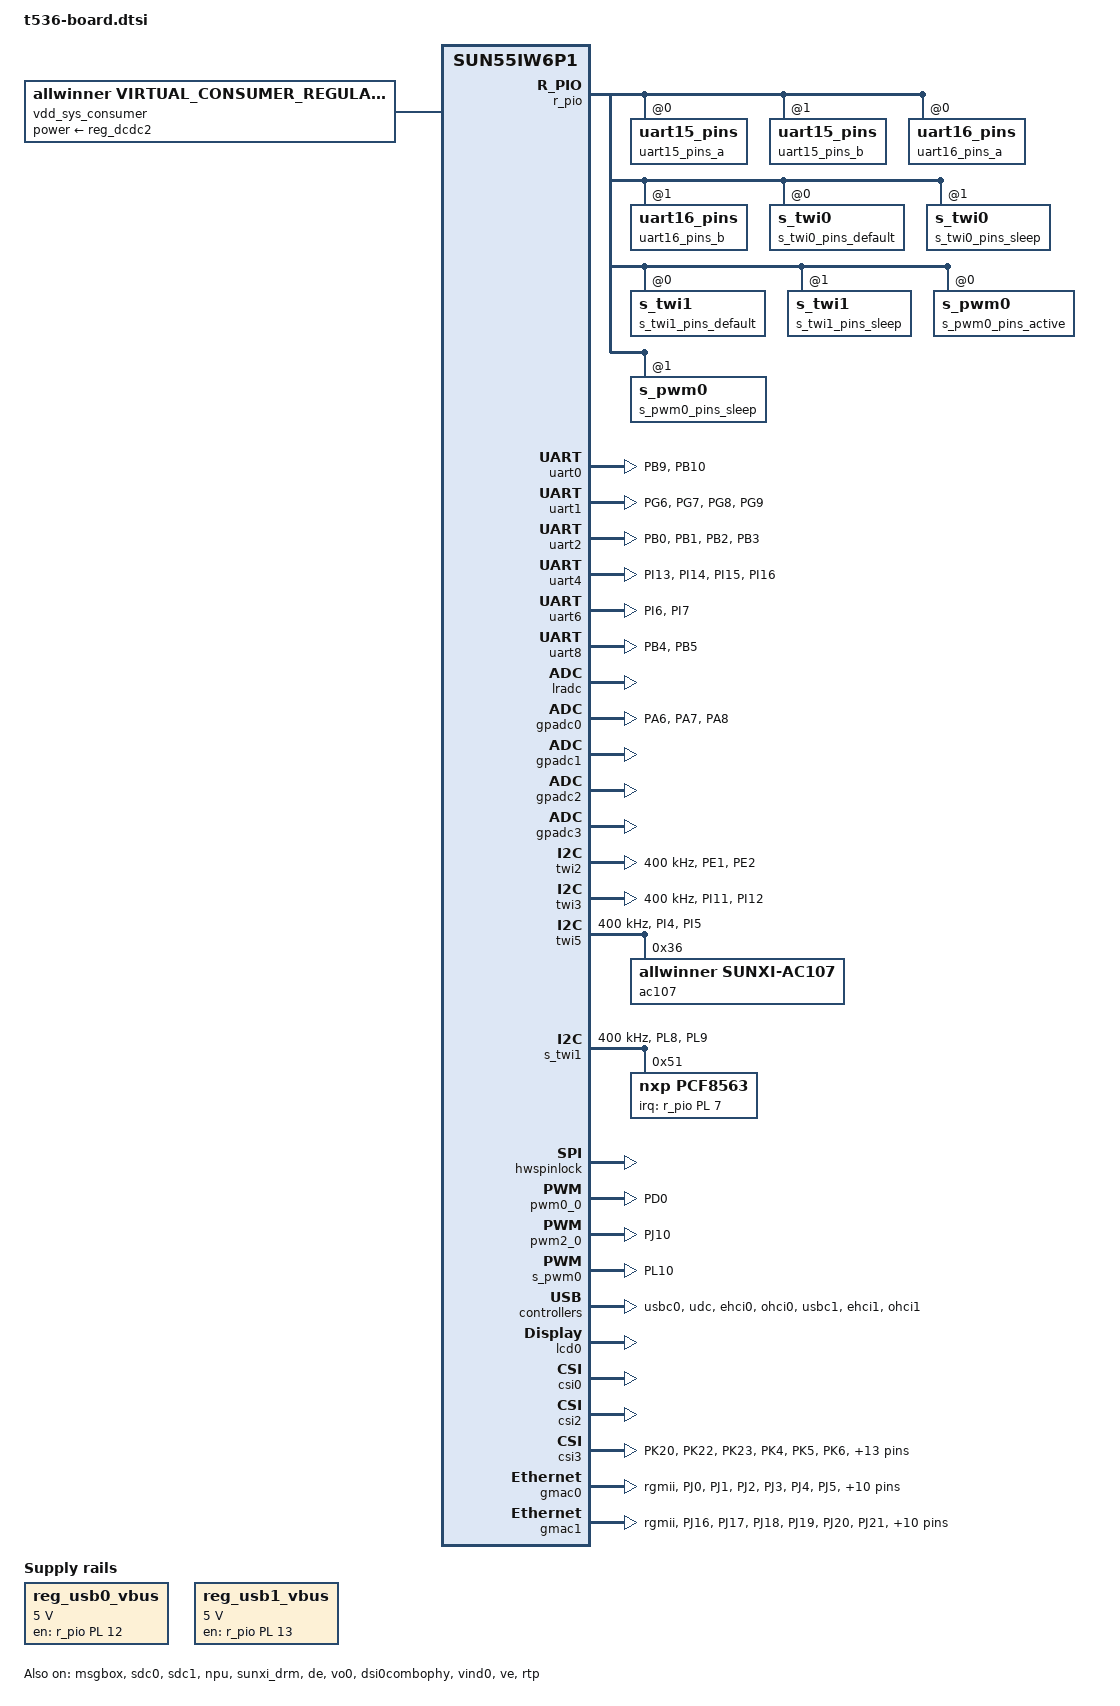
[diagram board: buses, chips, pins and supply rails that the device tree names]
// SPDX-License-Identifier: (GPL-2.0+ or MIT)

/dts-v1/;

#include "sun55iw6p1.dtsi"

/{
	board = "T536", "T536-DEMO";
	compatible = "allwinner,t536", "arm,sun55iw6p1";
	aliases {
		pmu0 = &pmu0;
		standby_param = &standby_param;
		arisc-config = &arisc_config;
	};

	standby_param: standby_param {
		vdd-cpu = <0x00000001>;
		vdd-sys = <0x00000002>;
		vcc-pll = <0x00000080>;
		vcc-io  = <0x00004000>;
		osc24m-on = <0x0>;
		mcu-standby-en = <0x0>;
	};

	arisc_config: arisc_config {
		s_uart_config{
			pins = "PL2", "PL3";
			function = <2>, <2>;
			status = "disabled";
		};
	};

	vdd_sys_consumer: vdd_sys_consumer {
		compatible = "allwinner,virtual_consumer_regulator";
		power-supply = <&reg_dcdc2>;
	};

	reserved-memory {
		rv_sram_reserved: riscvsram0@40000 {
			reg = <0x0 0x00040000 0x0 0x0002BFFF>;
			no-map;
			sleep-data-loss;
		};

		e907_mem_fw: e907_mem_fw@46000000 {
			/* boot0 & uboot0 load elf addr */
			reg = <0x0 0x46000000 0x0 0x00200000>;
		};

		e907_dram_reserved: e907_dram@60000000 {
			reg = <0x0 0x60000000 0x0 0x00100000>;
			no-map;
		};

		e907_rpbuf_reserved: e907_rpbuf@42380000 {
			compatible = "shared-dma-pool";
			no-map;
			reg = <0x0 0x42380000 0x0 0x80000>;
		};
		/*
		 * The name should be "vdev%dbuffer".
		 * Its size should be not less than
		 *     RPMSG_BUF_SIZE * (num of buffers in a vring) * 2
		 *   = 512 * (num of buffers in a vring) * 2
		 */
		rv_vdev0buffer: vdev0buffer@42400000 {
			compatible = "shared-dma-pool";
			reg = <0x0 0x42400000 0x0 0x40000>;
			no-map;
		};

		/*
		 * The name should be "vdev%dvring%d".
		 * The size of each should be not less than
		 *     PAGE_ALIGN(vring_size(num, align))
		 *   = PAGE_ALIGN(16 * num + 6 + 2 * num + (pads for align) + 6 + 8 * num)
		 *
		 * (Please refer to the vring layout in include/uapi/linux/virtio_ring.h)
		 */
		rv_vdev0vring0: vdev0vring0@42440000 {
			reg = <0x0 0x42440000 0x0 0x2000>;
			no-map;
		};
		rv_vdev0vring1: vdev0vring1@42442000 {
			reg = <0x0 0x42442000 0x0 0x2000>;
			no-map;
		};

		/*
		 * The name should be "vdev%dbuffer".
		 * Its size should be not less than
		 *     RPMSG_BUF_SIZE * (num of buffers in a vring) * 2
		 *   = 512 * (num of buffers in a vring) * 2
		 */
		a55_vdev0buffer: vdev0buffer@42444000 {
			compatible = "shared-dma-pool";
			reg = <0x0 0x42444000 0x0 0x40000>;
			no-map;
		};

		/*
		 * The name should be "vdev%dvring%d".
		 * The size of each should be not less than
		 *     PAGE_ALIGN(vring_size(num, align))
		 *   = PAGE_ALIGN(16 * num + 6 + 2 * num + (pads for align) + 6 + 8 * num)
		 *
		 * (Please refer to the vring layout in include/uapi/linux/virtio_ring.h)
		 */
		a55_vdev0vring0: vdev0vring0@42484000 {
			reg = <0x0 0x42484000 0x0 0x2000>;
			no-map;
		};
		a55_vdev0vring1: vdev0vring1@42484000 {
			reg = <0x0 0x42486000 0x0 0x2000>;
			no-map;
		};

		a55_reserved: a55_ddr@49000000 {
			reg = <0x0 0x49000000 0x0 0x00a00000>;
			no-map;
		};

		e907_share_irq_table: share_irq_table@42488000 {
			reg = <0x0 0x42488000 0x0 0x1000>;
			no-map;
		};
	};

	rpbuf_controller0: rpbuf_controller@0 {
		compatible = "allwinner,rpbuf-controller";
		remoteproc = <&e907_rproc>;
		ctrl_id = <0>;
		memory-region = <&e907_rpbuf_reserved>;
		status = "okay";
	};

	reserved-irq {
		share-e907 {
			arch-name = "e907";
			memory-region = <&e907_share_irq_table>;
			/* defined by sun55iw6-share-irq-dt.h */
			share-irq =
					<1    0x1    E907_PA_IRQ_NUM    ARM_PA_IRQ_NUM    0x00000000>,
					<2    0x2    E907_PB_IRQ_NUM    ARM_PB_IRQ_NUM    0x00000000>,
					<3    0x3    E907_PC_IRQ_NUM    ARM_PC_IRQ_NUM    0x00000000>,
					<4    0x4    E907_PD_IRQ_NUM    ARM_PD_IRQ_NUM    0x00000000>,
					<5    0x5    E907_PE_IRQ_NUM    ARM_PE_IRQ_NUM    0x00000000>,
					<6    0x6    E907_PF_IRQ_NUM    ARM_PF_IRQ_NUM    0x00000000>,
					<7    0x7    E907_PG_IRQ_NUM    ARM_PG_IRQ_NUM    0x00000000>,
					<8    0x8    E907_PH_IRQ_NUM    ARM_PH_IRQ_NUM    0x00000000>,
					<9    0x9    E907_PI_IRQ_NUM    ARM_PI_IRQ_NUM    0x00000000>,
					<10   0xa    E907_PJ_IRQ_NUM    ARM_PJ_IRQ_NUM    0x00000000>,
					<11   0xb    E907_PK_IRQ_NUM    ARM_PK_IRQ_NUM    0x00000000>,
					<12   0xc    E907_PL_IRQ_NUM    ARM_PL_IRQ_NUM    0x00000000>,
					<13   0xd    E907_PM_IRQ_NUM    ARM_PM_IRQ_NUM    0x00000000>;
		};
	};

	reg_usb0_vbus: usb0-vbus {
		compatible = "regulator-fixed";
		regulator-name = "usb0-vbus";
		regulator-min-microvolt = <5000000>;
		regulator-max-microvolt = <5000000>;
		regulator-enable-ramp-delay = <1000>;
		gpio = <&r_pio PL 12 GPIO_ACTIVE_HIGH>;
		enable-active-high;
	};

	reg_usb1_vbus: usb1-vbus {
		compatible = "regulator-fixed";
		regulator-name = "usb1-vbus";
		regulator-min-microvolt = <5000000>;
		regulator-max-microvolt = <5000000>;
		regulator-enable-ramp-delay = <1000>;
		gpio = <&r_pio PL 13 GPIO_ACTIVE_HIGH>;
		enable-active-high;
	};

	rgb_panel0: rgb_panel@1 {
		compatible = "sunxi-rgb";
		status = "disabled";
		reg = <0>;
		power0-supply = <&reg_dcdc4>;
		power1-supply = <&reg_cldo1>;
		backlight = <&backlight0>;
		display-timings {
			native-mode = <&rgb0_timing0>;
			rgb0_timing0: timing0 {
				clock-frequency = <48360000>;
				hback-porch = <35>;
				hactive = <1024>;
				hfront-porch = <161>;
				hsync-len = <20>;
				vback-porch = <25>;
				vactive = <600>;
				vfront-porch = <15>;
				vsync-len = <10>;
			};
		};
		port {
			rgb0_panel_in: endpoint {
				remote-endpoint = <&rgb0_panel_out>;
			};
		};
	};

	can0: can@0x0453C800 {
			compatible = "allwinner,sun55i-t536-can";
			reg = <0x0 0x0453C800 0x0 0x400>,
				<0x0 0x04538000 0x0 0x4400>,
				<0x0 0x04530000 0x0 0x1000>,
				<0x0 0x04534000 0x0 0x1000>;
			reg-names = "can", "message_ram", "can_top", "can_dma";
			interrupts = <GIC_SPI 36 IRQ_TYPE_LEVEL_HIGH>, <GIC_SPI 35 IRQ_TYPE_LEVEL_HIGH>, <GIC_SPI 37 IRQ_TYPE_LEVEL_HIGH>;
			interrupt-names = "int0", "int_top", "int1";
			clocks = <&ccu CLK_CAN0>, <&ccu CLK_BUS_CAN0>, <&ccu CLK_MBUS_CAN_GATE>;
			clock-names = "can_clk", "can_bus", "can_mbus";
			resets = <&ccu RST_BUS_CAN0>;
			reset-names = "can_rst";
			clock-frequency = <40000000>;
			allwinner,ram-cfg = <0x0 0 0 64 64 64 32 32>;
			status = "disable";
	};

	can1: can@0x04541800 {
		compatible = "allwinner,sun55i-t536-can";
		reg = <0x0 0x04541800 0x0 0x400>,
			<0x0 0x0453D000 0x0 0x4400>,
			<0x0 0x04531000 0x0 0x1000>,
			<0x0 0x04535000 0x0 0x1000>;
		reg-names = "can", "message_ram", "can_top", "can_dma";
		interrupts = <GIC_SPI 144 IRQ_TYPE_LEVEL_HIGH>, <GIC_SPI 146 IRQ_TYPE_LEVEL_HIGH>, <GIC_SPI 145 IRQ_TYPE_LEVEL_HIGH>;
		interrupt-names = "int0", "int_top", "int1";
		clocks = <&ccu CLK_CAN1>, <&ccu CLK_BUS_CAN1>, <&ccu CLK_MBUS_CAN_GATE>;
		clock-names = "can_clk", "can_bus", "can_mbus";
		resets = <&ccu RST_BUS_CAN1>;
		reset-names = "can_rst";
		clock-frequency = <40000000>;
		allwinner,ram-cfg = <0x0 0 0 64 64 64 32 32>;
		status = "disable";
	};

	can2: can@0x04546800 {
		compatible = "allwinner,sun55i-t536-can";
		reg = <0x0 0x04546800 0x0 0x400>,
			<0x0 0x04542000 0x0 0x4400>,
			<0x0 0x04532000 0x0 0x1000>,
			<0x0 0x04536000 0x0 0x1000>;
		reg-names = "can", "message_ram", "can_top", "can_dma";
		interrupts = <GIC_SPI 109 IRQ_TYPE_LEVEL_HIGH>, <GIC_SPI 108 IRQ_TYPE_LEVEL_HIGH>, <GIC_SPI 110 IRQ_TYPE_LEVEL_HIGH>;
		interrupt-names = "int0", "int_top", "int1";
		clocks = <&ccu CLK_CAN2>, <&ccu CLK_BUS_CAN2>, <&ccu CLK_MBUS_CAN_GATE>;
		clock-names = "can_clk", "can_bus", "can_mbus";
		resets = <&ccu RST_BUS_CAN2>;
		reset-names = "can_rst";
		clock-frequency = <40000000>;
		allwinner,ram-cfg = <0x0 0 0 64 64 64 32 32>;
		status = "disable";
	};

	can3: can@0x0454B800 {
		compatible = "allwinner,sun55i-t536-can";
		reg = <0x0 0x0454B800 0x0 0x400>,
			<0x0 0x04547000 0x0 0x4400>,
			<0x0 0x04533000 0x0 0x1000>,
			<0x0 0x04537000 0x0 0x1000>;
		reg-names = "can", "message_ram", "can_top", "can_dma";
		interrupts = <GIC_SPI 112 IRQ_TYPE_LEVEL_HIGH>, <GIC_SPI 111 IRQ_TYPE_LEVEL_HIGH>, <GIC_SPI 37 IRQ_TYPE_LEVEL_HIGH>;
		interrupt-names = "int0", "int_top", "int1";
		clocks = <&ccu CLK_CAN3>, <&ccu CLK_BUS_CAN3>, <&ccu CLK_MBUS_CAN_GATE>;
		clock-names = "can_clk", "can_bus", "can_mbus";
		resets = <&ccu RST_BUS_CAN3>;
		reset-names = "can_rst";
		clock-frequency = <40000000>;
		allwinner,ram-cfg = <0x0 0 0 64 64 64 32 32>;
		status = "disable";
	};
};

&pio {
	uart0_pins_a: uart0_pins@0 {
		pins = "PB9", "PB10";
		function = "uart0";
		bias-pull-up;
	};

	uart0_pins_b: uart0_pins@1 {
		pins = "PB9", "PB10";
		function = "io_disabled";
	};

	uart1_pins_a: uart1_pins@0 {
		pins = "PG6", "PG7", "PG8", "PG9";
		function = "uart1";
		bias-pull-up;
	};

	uart1_pins_b: uart1_pins@1 {
		pins = "PG6", "PG7", "PG8", "PG9";
		function = "io_disabled";
	};

	uart2_pins_a: uart2_pins@0 {
		pins = "PB0", "PB1", "PB2", "PB3";
		function = "uart2";
		bias-pull-up;
	};

	uart2_pins_b: uart2_pins@1 {
		pins = "PB0", "PB1", "PB2", "PB3";
		function = "io_disabled";
	};

	uart3_pins_a: uart3_pins@0 {
		pins = "PH4", "PH5", "PH6", "PH7";
		function = "uart3";
		bias-pull-up;
	};

	uart3_pins_b: uart3_pins@1 {
		pins = "PH4", "PH5", "PH6", "PH7";
		function = "io_disabled";
	};

	uart4_pins_a: uart4_pins@0 {
		pins = "PI13", "PI14", "PI15", "PI16";
		function = "uart4";
		bias-pull-up;
	};

	uart4_pins_b: uart4_pins@1 {
		pins = "PI13", "PI14", "PI15", "PI16";
		function = "io_disabled";
	};

	uart5_pins_a: uart5_pins@0 {
		pins = "PK14", "PK15", "PK16", "PK17";
		function = "uart5";
		bias-pull-up;
	};

	uart5_pins_b: uart5_pins@1 {
		pins = "PK14", "PK15", "PK16", "PK17";
		function = "io_disabled";
	};

	uart6_pins_a: uart6_pins@0 {
		pins = "PI6", "PI7";
		function = "uart6";
		bias-pull-up;
	};

	uart6_pins_b: uart6_pins@1 {
		pins = "PI6", "PI7";
		function = "io_disabled";
	};

	uart7_pins_a: uart7_pins@0 {
		pins = "PB13", "PB14", "PB15", "PB16";
		function = "uart7";
		bias-pull-up;
	};

	uart7_pins_b: uart7_pins@1 {
		pins = "PB13", "PB14", "PB15", "PB16";
		function = "io_disabled";
	};

	uart8_pins_a: uart8_pins@0 {
		pins = "PB4", "PB5";
		function = "uart8";
		bias-pull-up;
	};

	uart8_pins_b: uart8_pins@1 {
		pins = "PB4", "PB5";
		function = "io_disabled";
	};

	uart9_pins_a: uart9_pins@0 {
		pins = "PI2", "PI3", "PI4", "PI5";
		function = "uart9";
		bias-pull-up;
	};

	uart9_pins_b: uart9_pins@1 {
		pins = "PI2", "PI3", "PI4", "PI5";
		function = "io_disabled";
	};

	uart10_pins_a: uart10_pins@0 {
		pins = "PJ12", "PJ13", "PJ14", "PJ15";
		function = "uart10";
		bias-pull-up;
	};

	uart10_pins_b: uart10_pins@1 {
		pins = "PJ12", "PJ13", "PJ14", "PJ15";
		function = "io_disabled";
	};

	uart11_pins_a: uart11_pins@0 {
		pins = "PK0", "PK1", "PK2", "PK3";
		function = "uart11";
		bias-pull-up;
	};

	uart11_pins_b: uart11_pins@1 {
		pins = "PK0", "PK1", "PK2", "PK3";
		function = "io_disabled";
	};

	uart12_pins_a: uart12_pins@0 {
		pins = "PK4", "PK5", "PK6", "PK7";
		function = "uart12";
		bias-pull-up;
	};

	uart12_pins_b: uart12_pins@1 {
		pins = "PK4", "PK5", "PK6", "PK7";
		function = "io_disabled";
	};

	uart13_pins_a: uart13_pins@0 {
		pins = "PG0", "PG1", "PG2", "PG3";
		function = "uart13";
		bias-pull-up;
	};

	uart13_pins_b: uart13_pins@1 {
		pins = "PG0", "PG1", "PG2", "PG3";
		function = "io_disabled";
	};

	uart14_pins_a: uart14_pins@0 {
		pins = "PG10", "PG11", "PG12", "PG13";
		function = "uart14";
		bias-pull-up;
	};

	uart14_pins_b: uart14_pins@1 {
		pins = "PG10", "PG11", "PG12", "PG13";
		function = "io_disabled";
	};

	can0_pins_a: can0_pins@0 {
		pins = "PI0", "PI1";
		function = "can0";
	};

	can0_pins_b: can0_pins@1 {
		pins = "PI0", "PI1";
		function = "io_disabled";
	};

	can1_pins_a: can1_pins@0 {
		pins = "PB7", "PB8";
		function = "can1";
	};

	can1_pins_b: can1_pins@1 {
		pins = "PB7", "PB8";
		function = "io_disabled";
	};

	can2_pins_a: can2_pins@0 {
		pins = "PI8", "PI9";
		function = "can2";
	};

	can2_pins_b: can2_pins@1 {
		pins = "PI8", "PI9";
		function = "io_disabled";
	};

	can3_pins_a: can3_pins@0 {
		pins = "PI2", "PI3";
		function = "can3";
	};

	can3_pins_b: can3_pins@1 {
		pins = "PI2", "PI3";
		function = "io_disabled";
	};

	twi0_pins_default: twi0@0 {
		pins = "PD22", "PD23";
		function = "twi0";
		drive-strength = <10>;
		bias-pull-up;
	};

	twi0_pins_sleep: twi0@1 {
		pins = "PD22", "PD23";
		function = "gpio_in";
	};

	twi1_pins_default: twi1@0 {
		pins = "PE11", "PE12";
		function = "twi1";
		drive-strength = <10>;
		bias-pull-up;
	};

	twi1_pins_sleep: twi1@1 {
		pins = "PE11", "PE12";
		function = "gpio_in";
	};

	twi2_pins_default: twi2@0 {
		pins = "PE1", "PE2";
		function = "twi2";
		drive-strength = <10>;
		bias-pull-up;
	};

	twi2_pins_sleep: twi2@1 {
		pins = "PE1", "PE2";
		function = "gpio_in";
	};

	twi3_pins_default: twi3@0 {
		pins = "PI11", "PI12";
		function = "twi3";
		drive-strength = <10>;
		bias-pull-up;
	};

	twi3_pins_sleep: twi3@1 {
		pins = "PI11", "PI12";
		function = "gpio_in";
	};

	twi4_pins_default: twi4@0 {
		pins = "PJ24", "PJ25";
		function = "twi4";
		drive-strength = <10>;
		bias-pull-up;
	};

	twi4_pins_sleep: twi4@1 {
		pins = "PJ24", "PJ25";
		function = "gpio_in";
	};

	twi5_pins_default: twi5@0 {
		pins = "PI4", "PI5";
		function = "twi5";
		drive-strength = <20>;
		bias-pull-up;
	};

	twi5_pins_sleep: twi5@1 {
		pins = "PI4", "PI5";
		function = "gpio_in";
	};

	twi6_pins_default: twi6@0 {
		pins = "PE16", "PE17";
		function = "twi6";
		drive-strength = <10>;
		bias-pull-up;
	};

	twi6_pins_sleep: twi6@1 {
		pins = "PE16", "PE17";
		function = "gpio_in";
	};

	ledc_pins_active: ledc@0 {
		pins = "PI6";
		function = "ledc";
	};

	ledc_pins_sleep: ledc@1 {
		pins = "PI6";
		function = "gpio_in";
	};

	spi1_pins_default: spi1@0 {
		pins = "PB12", "PB13", "PB14"; /* clk, mosi, miso */
		function = "spi1";
		drive-strength = <10>;
	};

	spi1_pins_cs: spi1@1 {
		pins = "PB11"; /* cs, hold, wp */
		function = "spi1";
		drive-strength = <10>;
		bias-pull-up;
	};

	spi1_pins_sleep: spi1@2 {
		pins = "PB12", "PB13", "PB14", "PB11";
		function = "io_disabled";
	};

	pwm0_0_pins_active: pwm0@0 {
		pins = "PD0";
		function = "pwm0_0";
	};

	pwm0_0_pins_sleep: pwm0@1 {
		pins = "PD0";
		function = "gpio_in";
		bias-pull-down;
	};

	pwm1_0_pins_active: pwm1@0 {
		pins = "PB6";
		function = "pwm1_0";
	};

	pwm1_0_pins_sleep: pwm1@1 {
		pins = "PB6";
		function = "gpio_in";
		bias-pull-down;
	};

	pwm2_0_pins_active: pwm2@0 {
		pins = "PJ10";
		function = "pwm2_0";
	};

	pwm2_0_pins_sleep: pwm2@1 {
		pins = "PJ10";
		function = "gpio_in";
		bias-pull-down;
	};

	i2s1_pins_a: i2s1@0 {
		pins = "PG11";
		function = "i2s1_bclk";
		drive-strength = <20>;
		bias-disable;
	};

	i2s1_pins_b: i2s1@1 {
		pins = "PG12";
		function = "i2s1_lrck";
		drive-strength = <20>;
		bias-disable;
	};

	i2s1_pins_c: i2s1@2 {
		pins = "PG13";
		function = "i2s1_dout0";
		drive-strength = <20>;
		bias-disable;
	};

	i2s1_pins_d: i2s1@3 {
		pins = "PG14";
		function = "i2s1_din0";
		drive-strength = <20>;
		bias-disable;
	};

	i2s1_pins_e: i2s1@4 {
		pins = "PG11", "PG12", "PG13", "PG14";
		function = "io_disabled";
		drive-strength = <20>;
		bias-disable;
	};

	i2s3_pins_a: i2s3@0 {
		pins = "PH10";
		function = "i2s3_bclk";
		drive-strength = <20>;
		bias-disable;
	};

	i2s3_pins_b: i2s3@1 {
		pins = "PH11";
		function = "i2s3_lrck";
		drive-strength = <20>;
		bias-disable;
	};

	i2s3_pins_c: i2s3@2 {
		pins = "PH13";
		function = "i2s3_din0";
		drive-strength = <20>;
		bias-disable;
	};

	i2s3_pins_d: i2s3@3 {
		pins = "PH9";
		function = "i2s3_mclk";
		drive-strength = <20>;
		bias-disable;
	};

	i2s3_pins_e: i2s3@4 {
		pins = "PH12";
		function = "i2s3_dout0";
		drive-strength = <20>;
		bias-disable;
	};

	i2s3_pins_f: i2s3@5 {
		pins = "PH9", "PH10", "PH11", "PH12", "PH13";
		function = "io_disabled";
		drive-strength = <20>;
		bias-disable;
	};

	ncsi_bt656_pins_a: ncsi_BT656@0 {
		pins = "PK20", "PK22", "PK23",
		"PK4", "PK5", "PK6", "PK7",
		"PK8", "PK9", "PK10", "PK11";
		function = "ncsi";
		drive-strength = <10>;
	};

	ncsi_bt656_pins_b: ncsi_BT656@1 {
		pins = "PK20", "PK22", "PK23",
		"PK4", "PK5", "PK6", "PK7",
		"PK8", "PK9", "PK10", "PK11";
		function = "gpio_in";
	};

	ncsi_bt1120_pins_a: ncsi_BT1120@0 {
		pins = "PK20", "PK22", "PK23",
		"PK4", "PK5", "PK6", "PK7",
		"PK8", "PK9", "PK10", "PK11",
		"PK12", "PK13", "PK14", "PK15",
		"PK16", "PK17", "PK18", "PK19";
		function = "ncsi";
		drive-strength = <10>;
	};

	ncsi_bt1120_pins_b: ncsi_BT1120@1 {
		pins = "PK20", "PK22", "PK23",
		"PK4", "PK5", "PK6", "PK7",
		"PK8", "PK9", "PK10", "PK11",
		"PK12", "PK13", "PK14", "PK15",
		"PK16", "PK17", "PK18", "PK19";
		function = "gpio_in";
	};

	lbc_pins_a: lbc_pins_a@0 {
		pins = "PE0", "PE4", "PE5", "PE6", "PE7",
			"PE8", "PE9", "PE10", "PE11",
			"PE12", "PE13", "PE14", "PE15",
			"PE16", "PE17",
			"PK0", "PK1", "PK2", "PK3",
			"PK4", "PK5", "PK6", "PK7",
			"PK8", "PK9", "PK10", "PK11",
			"PK12", "PK13", "PK14", "PK15",
			"PK16", "PK17", "PK18", "PK19",
			"PK20", "PK21", "PK22", "PK23",
			"PH0", "PH1", "PH2", "PH3",
			"PH4", "PH5", "PH6", "PH7";
		function = "lbus";
		drive-strength = <30>;
		bias-pull-up;
	};

	lbc_pins_b: lbc_pins_b@0 {
		pins = "PE0", "PE4", "PE5", "PE6", "PE7",
			"PE8", "PE9", "PE10", "PE11",
			"PE12", "PE13", "PE14", "PE15",
			"PE16", "PE17",
			"PK0", "PK1", "PK2", "PK3",
			"PK4", "PK5", "PK6", "PK7",
			"PK8", "PK9", "PK10", "PK11",
			"PK12", "PK13", "PK14", "PK15",
			"PK16", "PK17", "PK18", "PK19",
			"PK20", "PK21", "PK22", "PK23",
			"PH0", "PH1", "PH2", "PH3",
			"PH4", "PH5", "PH6", "PH7";
		function = "gpio_in";
	};

	gmac0_pins_default: gmac0@0 {
		pins = "PJ0", "PJ1", "PJ2", "PJ3",
			"PJ4", "PJ5", "PJ6", "PJ7",
			"PJ8", "PJ9", "PJ10", "PJ11",
			"PJ12", "PJ13", "PJ14", "PJ15";
		function = "rgmii0";
		drive-strength = <40>;
		bias-pull-up;
	};

	gmac0_pins_sleep: gmac0@1 {
		pins = "PJ0", "PJ1", "PJ2", "PJ3",
			"PJ4", "PJ5", "PJ6", "PJ7",
			"PJ8", "PJ9", "PJ10", "PJ11",
			"PJ12", "PJ13", "PJ14", "PJ15";
		function = "gpio_in";
	};

	gmac1_pins_default: gmac1@0 {
		pins = "PJ16", "PJ17", "PJ18", "PJ19",
			"PJ20", "PJ21", "PJ22", "PJ23",
			"PJ24", "PJ25", "PJ26", "PJ27",
			"PJ28", "PJ29", "PJ30", "PJ31";
		function = "rgmii1";
		drive-strength = <40>;
		bias-pull-up;
	};

	gmac1_pins_sleep: gmac1@1 {
		pins = "PJ16", "PJ17", "PJ18", "PJ19",
			"PJ20", "PJ21", "PJ22", "PJ23",
			"PJ24", "PJ25", "PJ26", "PJ27",
			"PJ28", "PJ29", "PJ30", "PJ31";
		function = "gpio_in";
	};

	gpadc0_pins_default: gpadc0@0 {
		pins = "PA6", "PA7", "PA8";
		function = "gpadc0";
	};

	gpadc0_pins_sleep: gpadc0@1 {
		pins = "PA6", "PA7", "PA8";
		function = "gpio_in";
	};
};

&r_pio {
	uart15_pins_a: uart15_pins@0 {
		pins = "PL10", "PL11", "PL12", "PL13";
		function = "s_uart0";
		bias-pull-up;
	};

	uart15_pins_b: uart15_pins@1 {
		pins = "PL10", "PL11", "PL12", "PL13";
		function = "io_disabled";
	};

	uart16_pins_a: uart16_pins@0 {
		pins = "PM0", "PM1", "PM2", "PM3";
		function = "s_uart1";
		bias-pull-up;
	};

	uart16_pins_b: uart16_pins@1 {
		pins = "PM0", "PM1", "PM2", "PM3";
		function = "io_disabled";
	};

	s_twi0_pins_default: s_twi0@0 {
		pins = "PL0", "PL1";
		function = "s_twi0";
		drive-strength = <10>;
		bias-pull-up;
	};

	s_twi0_pins_sleep: s_twi0@1 {
		pins = "PL0", "PL1";
		function = "gpio_in";
	};

	s_twi1_pins_default: s_twi1@0 {
		pins = "PL8", "PL9";
		function = "s_twi1";
		drive-strength = <10>;
		bias-pull-up;
	};

	s_twi1_pins_sleep: s_twi1@1 {
		pins = "PL8", "PL9";
		function = "gpio_in";
	};

	s_pwm0_pins_active: s_pwm0@0 {
		pins = "PL10";
		function = "s_pwm0_0";
	};

	s_pwm0_pins_sleep: s_pwm0@1 {
		pins = "PL10";
		function = "gpio_in";
		bias-pull-down;
	};
};

&soc {
	e907_rproc: e907_rproc@1a00000 {
		mboxes = <&msgbox 4>, <&msgbox 6>;
		mbox-names = "arm-kick", "arm-standby";
		memory-region = <&rv_vdev0buffer>, <&rv_vdev0vring0>, <&rv_vdev0vring1>, <&e907_dram_reserved>, <&e907_share_irq_table>;
		fw-region = <&e907_mem_fw>;
		fw-partitions = "riscv0", "riscv0-r";
		fw-partition-sectors = <2048>;
		memory-mappings =
			/* < DA      len        PA >	*/
			/* SRAM A2 */
			< 0x40000    0x2BFFF    0x40000 >,
			/* SHARED SRAM */
			< 0x1000000  0x7ffff    0x1000000 >,
			/* DRAM SPACE1 */
			< 0x40000000 0x3f000000 0x40000000>,
			/* DRAM SPACE2 */
			< 0x80000000 0x3f000000 0x80000000>,
			/* DRAM SPACE3 */
			< 0xC0000000 0x3f000000 0xC0000000>;
		standby-ctrl-en = <0x1>;
		standby-record-reg = <0x07090114>;
		share-irq = "e907";
		status = "okay";
	};

};

&msgbox {
	status = "okay";
};

&uart0 {
	pinctrl-names = "default", "sleep";
	pinctrl-0 = <&uart0_pins_a>;
	pinctrl-1 = <&uart0_pins_b>;
	status = "okay";
};

&uart1 {
	pinctrl-names = "default", "sleep";
	pinctrl-0 = <&uart1_pins_a>;
	pinctrl-1 = <&uart1_pins_b>;
	status = "okay";
};

&uart2 {
	pinctrl-names = "default", "sleep";
	pinctrl-0 = <&uart2_pins_a>;
	pinctrl-1 = <&uart2_pins_b>;
	status = "okay";
};

&uart3 {
	pinctrl-names = "default", "sleep";
	pinctrl-0 = <&uart3_pins_a>;
	pinctrl-1 = <&uart3_pins_b>;
	status = "disabled";
};

&uart4 {
	pinctrl-names = "default", "sleep";
	pinctrl-0 = <&uart4_pins_a>;
	pinctrl-1 = <&uart4_pins_b>;
	status = "okay";
};


&uart5 {
	pinctrl-names = "default", "sleep";
	pinctrl-0 = <&uart5_pins_a>;
	pinctrl-1 = <&uart5_pins_b>;
	status = "disabled";
};

&uart6 {
	pinctrl-names = "default", "sleep";
	pinctrl-0 = <&uart6_pins_a>;
	pinctrl-1 = <&uart6_pins_b>;
	status = "okay";
};

&uart7 {
	pinctrl-names = "default", "sleep";
	pinctrl-0 = <&uart7_pins_a>;
	pinctrl-1 = <&uart7_pins_b>;
	status = "disabled";
};

&uart8 {
	pinctrl-names = "default", "sleep";
	pinctrl-0 = <&uart8_pins_a>;
	pinctrl-1 = <&uart8_pins_b>;
	status = "okay";
};

&uart9 {
	pinctrl-names = "default", "sleep";
	pinctrl-0 = <&uart9_pins_a>;
	pinctrl-1 = <&uart9_pins_b>;
	status = "disabled";
};

&uart10 {
	pinctrl-names = "default", "sleep";
	pinctrl-0 = <&uart10_pins_a>;
	pinctrl-1 = <&uart10_pins_b>;
	status = "disabled";
};

&uart11 {
	pinctrl-names = "default", "sleep";
	pinctrl-0 = <&uart11_pins_a>;
	pinctrl-1 = <&uart11_pins_b>;
	status = "disabled";
};

&uart12 {
	pinctrl-names = "default", "sleep";
	pinctrl-0 = <&uart12_pins_a>;
	pinctrl-1 = <&uart12_pins_b>;
	sunxi,uart-rs485 = <1>;
	sunxi,uart-485fl = <1>;
	sunxi,uart-485oe-gpios = <&pio PH 8 GPIO_ACTIVE_HIGH>;
	status = "disabled";
};

&uart13 {
	pinctrl-names = "default", "sleep";
	pinctrl-0 = <&uart13_pins_a>;
	pinctrl-1 = <&uart13_pins_b>;
	status = "disabled";
};

&uart14 {
	pinctrl-names = "default", "sleep";
	pinctrl-0 = <&uart14_pins_a>;
	pinctrl-1 = <&uart14_pins_b>;
	status = "disabled";
};

&uart15 {
	pinctrl-names = "default", "sleep";
	pinctrl-0 = <&uart15_pins_a>;
	pinctrl-1 = <&uart15_pins_b>;
	status = "disabled";
};

&uart16 {
	pinctrl-names = "default", "sleep";
	pinctrl-0 = <&uart16_pins_a>;
	pinctrl-1 = <&uart16_pins_b>;
	status = "disabled";
};

&can0 {
	pinctrl-names = "default", "sleep";
	pinctrl-0 = <&can0_pins_a>;
	pinctrl-1 = <&can0_pins_b>;
	status = "disabled";
};

&can1 {
	pinctrl-names = "default", "sleep";
	pinctrl-0 = <&can1_pins_a>;
	pinctrl-1 = <&can1_pins_b>;
	status = "disabled";
};

&can2 {
	pinctrl-names = "default", "sleep";
	pinctrl-0 = <&can2_pins_a>;
	pinctrl-1 = <&can2_pins_b>;
	status = "disabled";
};

&can3 {
	pinctrl-names = "default", "sleep";
	pinctrl-0 = <&can3_pins_a>;
	pinctrl-1 = <&can3_pins_b>;
	status = "disabled";
};

&sdc2 {
	non-removable;
	bus-width = <8>;
	mmc-ddr-1_8v;
	mmc-hs200-1_8v;
	mmc-hs400-1_8v;
	no-sdio;
	no-sd;
	ctl-spec-caps = <0x328>;
	cap-mmc-highspeed;
	sunxi-power-save-mode;
	sunxi-dis-signal-vol-sw;
	mmc-bootpart-noacc;
	/*cap-hsq;*/
	cqe-on;
	ctl-cmdq-md = <0x2>;
	/* b2c-ecc-on; */
	/* cqe-ecc-on; */
	max-frequency = <150000000>;
	vmmc-supply = <&reg_cldo3>;
	/*emmc io vol 3.3v*/
	/*vqmmc-supply = <&reg_aldo1>;*/
	/*emmc io vol 1.8v*/
	vqmmc-supply = <&reg_cldo1>;
	status = "disabled";
};

&sdc0 {
	bus-width = <4>;
	cd-gpios = <&pio PF 6 (GPIO_ACTIVE_LOW | GPIO_PULL_UP)>;
	/*non-removable;*/
	/*broken-cd;*/
	/*cd-inverted*/
	/*data3-detect;*/
	/*card-pwr-gpios = <&pio PH 14 1 1 2 0xffffffff>;*/
	cd-used-24M;
	cd-set-debounce = <0x1>;
	cap-sd-highspeed;
	sd-uhs-sdr50;
	sd-uhs-ddr50;
	sd-uhs-sdr104;
	no-sdio;
	no-mmc;
	/* b2c-ecc-on; */
	sunxi-power-save-mode;
	/*sunxi-dis-signal-vol-sw;*/
	max-frequency = <150000000>;
	ctl-spec-caps = <0x428>;
	vmmc-supply = <&reg_cldo3>;
	vqmmc33sw-supply = <&reg_cldo3>;
	vdmmc33sw-supply = <&reg_cldo3>;
	vqmmc18sw-supply = <&reg_aldo4>;
	vdmmc18sw-supply = <&reg_aldo4>;
	status = "okay";
};

&sdc1 {
	bus-width = <4>;
	no-mmc;
	no-sd;
	cap-sd-highspeed;
	/*sd-uhs-sdr12*/
	sd-uhs-sdr25;
	sd-uhs-sdr50;
	sd-uhs-ddr50;
	sd-uhs-sdr104;
	/*sunxi-power-save-mode;*/
	sunxi-dis-signal-vol-sw;
	cap-sdio-irq;
	keep-power-in-suspend;
	ignore-pm-notify;
	max-frequency = <208000000>;
	ctl-spec-caps = <0x428>;
	status = "okay";
};

&lradc {
	key_cnt = <4>;
	key0 = <210 172>;
	key1 = <410 158>;
	key2 = <590 115>;
	key3 = <750 114>;
	status = "okay";
};

&gpadc0 {
	pinctrl-names = "default", "sleep";
	pinctrl-0 = <&gpadc0_pins_default>;
	pinctrl-1 = <&gpadc0_pins_sleep>;
	channel_num = <2>;
	channel_select = <3>;
	channel_data_select = <0x0>;
	channel_compare_select = <0x0>;
	channel_cld_select = <0x0>;
	channel_chd_select = <0x0>;
	channel0_compare_lowdata = <1700000>;
	channel0_compare_higdata = <1200000>;
	channel1_compare_lowdata = <460000>;
	channel1_compare_higdata = <1200000>;
	gpadc_sample_rate = <1000000>;
	sync = <&gpadc_sync0 0x0>; /* <&sync_group, idx> */
	/* sync_group is used for matching between multiple ports, same within the same group */
	/* idx means the order of starting in sync group, differences within the same group */
	/* gpadc_sample_rate must be the same within the same group */
	status = "okay";
};

&gpadc1 {
	channel_num = <10>; /* the value range is 4 to 10 */
	//only_used_for_gpadc; /* gapdc1 channel0~3 only used for gpadc, can't open is when tpadc used */
	channel_select = <0x3f0>; /* 11 1111 1111: open all channel */
	channel_data_select = <0x0>;
	channel_compare_select = <0x0>;
	channel_cld_select = <0x0>;
	channel_chd_select = <0x0>;
	channel4_compare_lowdata = <1700000>;
	channel4_compare_higdata = <1200000>;
	channel5_compare_lowdata = <460000>;
	channel5_compare_higdata = <1200000>;
	channel6_compare_lowdata = <1700000>;
	channel6_compare_higdata = <1200000>;
	channel7_compare_lowdata = <460000>;
	channel7_compare_higdata = <1200000>;
	channel8_compare_lowdata = <1700000>;
	channel8_compare_higdata = <1200000>;
	channel9_compare_lowdata = <460000>;
	channel9_compare_higdata = <1200000>;
	gpadc_sample_rate = <1000000>;
	sync = <&gpadc_sync0 0x1>; /* <&sync_group, idx> */
	status = "okay";
};

&gpadc2 {
	channel_num = <2>;
	channel_select = <3>;
	channel_data_select = <0>;
	channel_compare_select = <0>;
	channel_cld_select = <0>;
	channel_chd_select = <0>;
	channel0_compare_lowdata = <1700000>;
	channel0_compare_higdata = <1200000>;
	channel1_compare_lowdata = <460000>;
	channel1_compare_higdata = <1200000>;
	gpadc_sample_rate = <1000000>;
	sync = <&gpadc_sync0 0x2>; /* <&sync_group, idx> */
	status = "okay";
};

&gpadc3 {
	channel_num = <1>;
	channel_select = <1>;
	channel_data_select = <0x0>;
	channel_compare_select = <0x0>;
	channel_cld_select = <0x0>;
	channel_chd_select = <0x0>;
	channel0_compare_lowdata = <1700000>;
	channel0_compare_higdata = <1200000>;
	gpadc_sample_rate = <1000000>;
	sync = <&gpadc_sync0 0x3>; /* <&sync_group, idx> */
	status = "okay";
};

&twi0 {
	clock-frequency = <400000>;
	pinctrl-0 = <&twi0_pins_default>;
	pinctrl-1 = <&twi0_pins_sleep>;
	pinctrl-names = "default", "sleep";
	/* For stability and backwards compatibility, we recommend setting ‘twi_drv_used’ to 1 */
	twi_drv_used = <1>;
	twi-supply = <&reg_dcdc4>;
	status = "disabled";
};

&twi1 {
	clock-frequency = <400000>;
	pinctrl-0 = <&twi1_pins_default>;
	pinctrl-1 = <&twi1_pins_sleep>;
	pinctrl-names = "default", "sleep";
	/* For stability and backwards compatibility, we recommend setting ‘twi_drv_used’ to 1 */
	twi_drv_used = <1>;
	status = "disabled";
};

&twi2 {
	clock-frequency = <400000>;
	pinctrl-0 = <&twi2_pins_default>;
	pinctrl-1 = <&twi2_pins_sleep>;
	pinctrl-names = "default", "sleep";
	/* For stability and backwards compatibility, we recommend setting ‘twi_drv_used’ to 1 */
	twi_drv_used = <1>;
	twi-supply = <&reg_dcdc4>;
	status = "okay";
};

&twi3 {
	clock-frequency = <400000>;
	pinctrl-0 = <&twi3_pins_default>;
	pinctrl-1 = <&twi3_pins_sleep>;
	pinctrl-names = "default", "sleep";
	/* For stability and backwards compatibility, we recommend setting ‘twi_drv_used’ to 1 */
	twi_drv_used = <1>;
	status = "okay";
};

&twi4 {
	clock-frequency = <400000>;
	pinctrl-0 = <&twi4_pins_default>;
	pinctrl-1 = <&twi4_pins_sleep>;
	pinctrl-names = "default", "sleep";
	/* For stability and backwards compatibility, we recommend setting ‘twi_drv_used’ to 1 */
	twi_drv_used = <1>;
	status = "disabled";
};

&twi5 {
	clock-frequency = <400000>;
	pinctrl-0 = <&twi5_pins_default>;
	pinctrl-1 = <&twi5_pins_sleep>;
	pinctrl-names = "default", "sleep";
	/* For stability and backwards compatibility, we recommend setting ‘twi_drv_used’ to 1 */
	twi_drv_used = <1>;
	status = "okay";

	ac107: ac107@36 {
		#sound-dai-cells        = <0>;
		compatible              = "allwinner,sunxi-ac107";
		reg                     = <0x36>;
		pllclk-src              = "MCLK";
		sysclk-src              = "MCLK";
		pcm-bit-first           = "MSB";
		frame-sync-width        = <1>;
		tx-pin-chmap0           = <0x10101010>;
		tx-pin-chmap1           = <0x10101010>;
		ch1-dig-vol             = <160>;
		ch2-dig-vol             = <160>;
		ch1-pga-gain            = <26>;
		ch2-pga-gain            = <26>;
		status                  = "okay";
	};
};

&twi6 {
	clock-frequency = <400000>;
	pinctrl-0 = <&twi6_pins_default>;
	pinctrl-1 = <&twi6_pins_sleep>;
	pinctrl-names = "default", "sleep";
	/* For stability and backwards compatibility, we recommend setting ‘twi_drv_used’ to 1 */
	twi_drv_used = <1>;
	status = "disabled";
};

&s_twi1 {
	clock-frequency = <400000>;
	pinctrl-0 = <&s_twi1_pins_default>;
	pinctrl-1 = <&s_twi1_pins_sleep>;
	pinctrl-names = "default", "sleep";
	/* For stability and backwards compatibility, we recommend setting ‘twi_drv_used’ to 1 */
	twi_drv_used = <1>;
	status = "okay";

	pcf8563: rtc@51 {
		compatible = "nxp,pcf8563";
		reg = <0x51>;
		wakeup-source;
		interrupt-parent = <&r_pio>;
		interrupts = <PL 7 IRQ_TYPE_LEVEL_HIGH>;
	};
};

&ledc  {
        pinctrl-names = "default", "sleep";
        pinctrl-0 = <&ledc_pins_active>;
        pinctrl-1 = <&ledc_pins_sleep>;
        led_count = <34>;
        output_mode = "GRB";
        reset_ns = <84>;
        t1h_ns = <800>;
        t1l_ns = <320>;
        t0h_ns = <300>;
        t0l_ns = <800>;
        wait_time0_ns = <84>;
        wait_time1_ns = <84>;
        wait_data_time_ns = <600000>;
        status = "disabled";
};

&spi1 {
	pinctrl-0 = <&spi1_pins_default &spi1_pins_cs>;
	pinctrl-1 = <&spi1_pins_sleep>;
	pinctrl-names = "default", "sleep";
	sunxi,spi-bus-mode = <SUNXI_SPI_BUS_MASTER>;
	sunxi,spi-cs-mode = <SUNXI_SPI_CS_AUTO>;
	// ready-gpio = <&pio PC 15 GPIO_ACTIVE_LOW>;
	status = "disabled";
};

&hwspinlock {
	status = "okay";
};

&pwm0_0 {
	pinctrl-names = "active", "sleep";
	pinctrl-0 = <&pwm0_0_pins_active>;
	pinctrl-1 = <&pwm0_0_pins_sleep>;
	status = "okay";
};

&cpu0 {
	cpu-supply = <&reg_dcdc1>;
};

&dsufreq {
	dsu-supply = <&reg_dcdc1>;
};

&pwm2_0 {
	pinctrl-names = "active", "sleep";
	pinctrl-0 = <&pwm2_0_pins_active>;
	pinctrl-1 = <&pwm2_0_pins_sleep>;
	status = "okay";
};

&s_pwm0 {
	pinctrl-names = "active", "sleep";
	pinctrl-0 = <&s_pwm0_pins_active>;
	pinctrl-1 = <&s_pwm0_pins_sleep>;
	status = "okay";
};

/*
 *usb_port_type: usb mode: 0-device, 1-host, 2-otg.
 *usb_detect_type: usb hotplug detect mode. 0-none, 1-vbus/id detect, 2-id/dpdm detect.
 *usb_detect_mode: 0-thread scan, 1-id gpio interrupt.
 *usb_id_gpio: gpio for id detect.
 *usb_det_vbus_gpio: gpio for id detect. gpio or "axp_ctrl";
 *usb_wakeup_suspend：0-SUPER_STANDBY, 1-USB_STANDBY.
 */
&usbc0 {
	device_type = "usbc0";
	usb_port_type = <0x2>;
	usb_detect_type = <0x1>;
	usb_detect_mode = <0x0>;
	usb_id_gpio = <&r_pio PL 10 GPIO_ACTIVE_HIGH>;
	enable-active-high;
	usb_det_vbus_gpio = <&r_pio PL 11 GPIO_ACTIVE_HIGH>;
	enable-active-high;
	usb_regulator_io = "nocare";
	usb_wakeup_suspend = <0>;
	usb_luns = <3>;
	usb_serial_unique = <0>;
	usb_serial_number = "20080411";
	rndis_wceis = <1>;
	status = "okay";
};

&udc {
	status = "okay";
};

&ehci0 {
	drvvbus-supply = <&reg_usb0_vbus>;
	status = "okay";
};

&ohci0 {
	drvvbus-supply = <&reg_usb0_vbus>;
	status = "okay";
};

&usbc1 {
	device_type = "usbc1";
	usb_regulator_io = "nocare";
	usb_wakeup_suspend = <0>;
	status = "okay";
};

&ehci1 {
	drvvbus-supply = <&reg_usb1_vbus>;
	status = "okay";
};

&ohci1 {
	drvvbus-supply = <&reg_usb1_vbus>;
	status = "okay";
};

&npu {
	npu-supply = <&reg_ext_axp1530_dcdc1>;
	status = "okay";
};

/* audio dirver module -> audio codec */
&codec {
	/* tx-hub-en; */
	/* rx-sync-en; */

	dac-vol		= <63>;		/* default value:63 range:0->63 */
	dacl-vol	= <160>;	/* default value:160 range:0->255 */
	lineout-gain	= <31>;		/* default value:31 range:0->31 */

	rglt-max	= <1>;
	rglt0-mode	= "PMU";
	rglt0-voltage	= <1800000>;
	rglt0-supply	= <&reg_aldo4>;

	pa-pin-max	= <1>;
	pa-pin-0	= <&pio PA 9 GPIO_ACTIVE_HIGH>;
	pa-pin-level-0	= <1>;
	pa-pin-msleep-0	= <0>;

	status = "disabled";
};

&codec_plat {
	status = "disabled";
};

&codec_mach {
	soundcard-mach,jack-support = <0>;
	status = "disabled";
	soundcard-mach,cpu {
		sound-dai = <&codec_plat>;
	};
	soundcard-mach,codec {
		sound-dai = <&codec>;
	};
};

/* audio dirver module -> owa */
&owa_plat {
	/* pinctrl-used; */
	/* pinctrl-names	= "default","sleep"; */
	/* pinctrl-0	= <&owa_pins_a>; */
	/* pinctrl-1	= <&owa_pins_b>; */
	tx-hub-en;
	status		= "disabled";
};

&owa_mach {
	status		= "disabled";
	soundcard-mach,cpu {
		sound-dai = <&owa_plat>;
	};
	soundcard-mach,codec {
	};
};

/* audio dirver module -> DMIC */
&dmic_plat {
	rx-chmap	= <0x76543210>;
	data-vol	= <0xB0>;
	rxdelaytime	= <0>;
	/* pinctrl-used; */
	/* pinctrl-names	= "default","sleep"; */
	/* pinctrl-0	= <&dmic_pins_a>; */
	/* pinctrl-1	= <&dmic_pins_b>; */
	rx-sync-en;
	status		= "disabled";
};

&dmic_mach {
	status		= "disabled";
	soundcard-mach,cpu {
		sound-dai = <&dmic_plat>;
	};
	soundcard-mach,codec {
	};
};

/* audio dirver module -> I2S/PCM */
&i2s0_plat {
	tdm-num		= <0>;
	tx-pin		= <0>;
	rx-pin		= <0>;
	/* pinctrl-used; */
	/* pinctrl-names	= "default","sleep"; */
	/* pinctrl-0	= <&i2s0_pins_a &i2s0_pins_b &i2s0_pins_c &i2s0_pins_d>; */
	/* pinctrl-1	= <&i2s0_pins_e>; */
	tx-hub-en;
	rx-sync-en;
	status		= "disabled";
};

&i2s0_mach {
	soundcard-mach,format		= "i2s";
	soundcard-mach,frame-master	= <&i2s0_cpu>;
	soundcard-mach,bitclock-master	= <&i2s0_cpu>;
	/* soundcard-mach,frame-inversion; */
	/* soundcard-mach,bitclock-inversion; */
	soundcard-mach,slot-num		= <2>;
	soundcard-mach,slot-width	= <32>;
	soundcard-mach,capture-only;
	status		= "disabled";
	i2s0_cpu: soundcard-mach,cpu {
		sound-dai = <&i2s0_plat>;
		/* note: pll freq = 24.576M or 22.5792M * pll-fs */
		soundcard-mach,pll-fs	= <1>;
		/* note:
		 * mclk freq = mclk-fs * 12.288M or 11.2896M	(when mclk-fp ture)
		 * mclk freq = mclk-fs * pcm rate		(when mclk-fp false)
		 */
		soundcard-mach,mclk-fp;
		soundcard-mach,mclk-fs	= <1>;
	};
	i2s0_codec: soundcard-mach,codec {
		soundcard-mach,pll-fs   = <1>;
	};
};

&i2s1_plat {
	tdm-num		= <1>;
	tx-pin		= <0>;
	rx-pin		= <0>;
	pinctrl-used;
	pinctrl-names= "default","sleep";
	pinctrl-0	= <&i2s1_pins_a &i2s1_pins_b &i2s1_pins_c &i2s1_pins_d>;
	pinctrl-1	= <&i2s1_pins_e>;
	tx-hub-en;
	rx-sync-en;
	status		= "disabled";
};

&i2s1_mach {
	soundcard-mach,format		= "dsp_a";
	soundcard-mach,frame-master	= <&i2s1_cpu>;
	soundcard-mach,bitclock-master	= <&i2s1_cpu>;
	/* soundcard-mach,frame-inversion; */
	soundcard-mach,bitclock-inversion;
	soundcard-mach,slot-num		= <2>;
	soundcard-mach,slot-width	= <16>;
	status		= "disabled";
	i2s1_cpu: soundcard-mach,cpu {
		sound-dai = <&i2s1_plat>;
		soundcard-mach,pll-fs	= <1>;
		soundcard-mach,mclk-fs	= <0>;
	};
	i2s1_codec: soundcard-mach,codec {
	};
};

&i2s2_plat {
	rglt-max	= <1>;
	rglt0-mode	= "PMU";
	rglt0-voltage	= <3300000>;
	rglt0-supply	= <&reg_dcdc4>;

	tdm-num		= <2>;
	tx-pin		= <0 1 2 3>;
/* e.g.
 * tx-pin0-map0 = <0xFEDC3210> -> tx_pin_map[0][0] (Dout0-slot[7:0]  map channel[15:12, 3:0])
 * tx-pin0-map1 = <0x3210FEDC> -> tx_pin_map[0][1] (Dout0-slot[15:8] map channel[3:0, 15:12])
 * tx-pin1-map0 = <0x76543210> -> tx_pin_map[1][0] (Dout1-slot[7:0]  map channel[7:0])
 */
	tx-pin0-map0	= <0x76543210>;
	tx-pin0-map1	= <0xFEDCBA98>;
	tx-pin1-map0	= <0x76543210>;
	tx-pin1-map1	= <0xFEDCBA98>;
	tx-pin2-map0	= <0x76543210>;
	tx-pin2-map1	= <0xFEDCBA98>;
	tx-pin3-map0	= <0x76543210>;
	tx-pin3-map1	= <0xFEDCBA98>;
	rx-pin		= <0>;
	/* pinctrl-used; */
	/* pinctrl-names= "default","sleep"; */
	/* pinctrl-0	= <&i2s2_pins_a>; */
	/* pinctrl-1	= <&i2s2_pins_b>; */
	tx-hub-en;
	rx-sync-en;
	/* edp not need dai-type */
	dai-type = "hdmi";
	status		= "disabled";
};

&i2s2_mach {
	soundcard-mach,format		= "i2s";
	soundcard-mach,frame-master	= <&i2s2_cpu>;
	soundcard-mach,bitclock-master	= <&i2s2_cpu>;
	/* soundcard-mach,frame-inversion; */
	/* soundcard-mach,bitclock-inversion; */
	soundcard-mach,slot-num		= <2>;
	soundcard-mach,slot-width	= <32>;
	status		= "disabled";
	i2s2_cpu: soundcard-mach,cpu {
		sound-dai = <&i2s2_plat>;
		soundcard-mach,pll-fs	= <1>;
		/* edp mclk: 512fs */
		soundcard-mach,mclk-fs	= <0>;
	};
	i2s2_codec: soundcard-mach,codec {
		/* sound-dai               = <&hdmi_codec>; */
	};
};

&sunxi_drm {
	status = "okay";
};

&de {
	chn_cfg_mode = <3>;
	status = "okay";
};

&vo0 {
	status = "okay";
};

&lcd0 {
	status = "okay";
};

&rgb0 {
	status = "disabled";
	pinctrl-0 = <&rgb0_24pins_a>;
	pinctrl-1 = <&rgb0_24pins_b>;
	pinctrl-names = "active","sleep";
	ports {
		port@1 {
			reg = <1>;
			rgb0_panel_out: endpoint@0 {
				reg = <0>;
				remote-endpoint = <&rgb0_panel_in>;
			};
		};
	};
};

&dsi0combophy {
	status = "okay";
};

&csi_mclk1_pins_a {
	pins = "PK21";
	function = "mcsi1_mclk";
};

&csi_mclk1_pins_b {
	pins = "PK21";
};

&vind0 {
	csi_top = <300000000>;
	csi_isp = <216000000>;
	vind_mclkpin-supply = <&reg_dcdc4>; /* vcc-pe */
	vind_mclkpin_vol = <3300000>;
	vind_mcsipin-supply = <&reg_cldo1>;  /* vcc-mcsi */
	vind_mcsipin_vol = <1800000>;
	vind_mipipin-supply = <&reg_dcdc4>;  /* vcc-pk */
	vind_mipipin_vol = <3300000>;
	status = "okay";

	csi0: csi@5820000 {
		status = "okay";
	};

	csi1: csi@5821000 {
		status = "disabled";
	};

	csi2: csi@5822000 {
		status = "okay";
	};

	csi3:csi@5823000 {
		pinctrl-names = "default","sleep";
		pinctrl-0 = <&ncsi_bt1120_pins_a>;
		pinctrl-1 = <&ncsi_bt1120_pins_b>;
		status = "okay";
	};

	mipi0: mipi@5810100 {
		status = "okay";
	};

	mipi1: mipi@5810200 {
		status = "okay";
	};

	mipi2: mipi@5810300 {
		status = "okay";
	};

	mipi3: mipi@5810400 {
		status = "disabled";
	};

	tdm0:tdm@5908000 {
		work_mode = <0>;
		status = "disabled";
	};

	isp00:isp@5900000 {
		work_mode = <0>;
		status = "okay";
	};

	isp01:isp@58ffffc {
		status = "disabled";
	};

	isp02:isp@58ffff8 {
		status = "disabled";
	};

	isp03:isp@58ffff4 {
		status = "disabled";
	};

	isp10:isp@4 {
		status = "disabled";
	};

	isp20:isp@5 {
		status = "disabled";
	};

	isp30:isp@6 {
		status = "disabled";
	};

	scaler00:scaler@5910000 {
		work_mode = <0>;
		status = "okay";
	};

	scaler01:scaler@590fffc {
		status = "disabled";
	};

	scaler02:scaler@590fff8 {
		status = "disabled";
	};

	scaler03:scaler@590fff4 {
		status = "disabled";
	};

	scaler10:scaler@5910400 {
		work_mode = <0>;
		status = "okay";
	};

	scaler11:scaler@59103fc {
		status = "disabled";
	};

	scaler12:scaler@59103f8 {
		status = "disabled";
	};

	scaler13:scaler@59103f4 {
		status = "disabled";
	};

	scaler20:scaler@5910800 {
		work_mode = <0>;
		status = "okay";
	};

	scaler21:scaler@59107fc {
		status = "disabled";
	};

	scaler22:scaler@59107f8 {
		status = "disabled";
	};

	scaler23:scaler@59107f4 {
		status = "disabled";
	};

	scaler30:scaler@5910c00 {
		work_mode = <0>;
		status = "okay";
	};

	scaler31:scaler@5910bfc {
		status = "disabled";
	};

	scaler32:scaler@5910bf8 {
		status = "disabled";
	};

	scaler33:scaler@5910bf4 {
		status = "disabled";
	};

	actuator0: actuator@2108180 {
		device_type = "actuator0";
		actuator0_name = "cn3927_act";
		actuator0_slave = <0x18>;
		actuator0_af_pwdn = <>;
		actuator0_afvdd = "afvcc-csi";
		actuator0_afvdd_vol = <2800000>;
		status = "okay";
	};

	flash0: flash@2108190 {
		device_type = "flash0";
		flash0_type = <2>;
		flash0_en = <&r_pio PL 11 GPIO_ACTIVE_LOW>;
		flash0_mode = <>;
		flash0_flvdd = "";
		flash0_flvdd_vol = <>;
		device_id = <0>;
		status = "disabled";
	};

	sensor0:sensor@5812000 {
		device_type = "sensor0";
		sensor0_mname = "tp9930";
		sensor0_twi_cci_id = <2>;
		sensor0_twi_addr = <0x88>;
		sensor0_mclk_id = <1>;
		sensor0_pos = "rear";
		sensor0_isp_used = <0>;
		sensor0_fmt = <0>;
		sensor0_stby_mode = <0>;
		sensor0_vflip = <0>;
		sensor0_hflip = <0>;
		sensor0_cameravdd-supply = <>;
		sensor0_cameravdd_vol = <>;
		sensor0_iovdd-supply = <>;
		sensor0_iovdd_vol = <>;
		sensor0_avdd-supply = <>;
		sensor0_avdd_vol = <>;
		sensor0_dvdd-supply = <>;
		sensor0_dvdd_vol = <>;
		sensor0_power_en = <>;
		sensor0_reset = <&pio PH 15 GPIO_ACTIVE_LOW>;
		/* sensor0_pwdn = <&pio PE 7 GPIO_ACTIVE_LOW>; */
		status = "disabled";
	};

	sensor1:sensor@5812010 {
		device_type = "sensor1";
		sensor1_mname = "sc035hgs_mipi";
		sensor1_twi_cci_id = <2>;
		sensor1_twi_addr = <0x60>;
		sensor1_mclk_id = <3>;
		sensor1_pos = "front";
		sensor1_isp_used = <1>;
		sensor1_fmt = <1>;
		sensor1_stby_mode = <0>;
		sensor1_vflip = <0>;
		sensor1_hflip = <0>;
		sensor1_iovdd-supply = <&reg_cldo1>;
		sensor1_iovdd_vol = <1800000>;
		sensor1_avdd-supply = <&reg_aldo1>;
		sensor1_avdd_vol = <2800000>;
		sensor1_dvdd-supply = <&reg_bldo4>;
		sensor1_dvdd_vol = <1500000>;
		sensor1_power_en = <>;
		sensor1_reset = <&pio PE 9 GPIO_ACTIVE_LOW>;
		/* sensor1_pwdn = <&pio PE 8 GPIO_ACTIVE_LOW>; */
		status = "disabled";
	};

	sensor_list0:sensor_list@200b820 {
		sensor00_mname = "gc5035_mipi";
		sensor00_twi_addr = <0x6c>;
		sensor00_type = <1>;
		sensor00_hflip =  <0>;
		sensor00_vflip = <0>;
		sensor00_act_used = <1>;
		sensor00_act_name = "dw9714_act";
		sensor00_act_twi_addr = <0x18>;
		sensor01_mname = "ov5675_mipi";
		sensor01_twi_addr = <0x6c>;
		sensor01_type = <1>;
		sensor01_hflip =  <0>;
		sensor01_vflip = <0>;
		sensor01_act_used = <1>;
		sensor01_act_name = "dw9714_act";
		sensor01_act_twi_addr = <0x18>;
		sensor02_mname = "sp5409_mipi";
		sensor02_twi_addr = <0x78>;
		sensor02_type = <1>;
		sensor02_hflip =  <0>;
		sensor02_vflip = <0>;
		sensor02_act_used = <1>;
		sensor02_act_name = "dw9714_act";
		sensor02_act_twi_addr = <0x18>;
		status	= "disabled";
	};

	sensor_list1:sensor_list@200b830 {
		sensor10_mname = "gc02m2_mipi";
		sensor10_twi_addr = <0x20>;
		sensor10_type = <1>;
		sensor10_hflip =  <0>;
		sensor10_vflip = <0>;
		sensor10_act_used = <0>;
		sensor10_act_name = "";
		sensor10_act_twi_addr = <>;
		sensor11_mname = "ov02a10_mipi";
		sensor11_twi_addr = <0x7a>;
		sensor11_type = <1>;
		sensor11_hflip =  <1>;
		sensor11_vflip = <0>;
		sensor11_act_used = <0>;
		sensor11_act_name = "";
		sensor11_act_twi_addr = <>;
		sensor12_mname = "gc030a_mipi";
		sensor12_twi_addr = <0x42>;
		sensor12_type = <1>;
		sensor12_hflip =  <0>;
		sensor12_vflip = <0>;
		sensor12_act_used = <0>;
		sensor12_act_name = "";
		sensor12_act_twi_addr = <>;
		status	= "disabled";
	};

	vinc00:vinc@5830000 {
		vinc0_csi_sel = <3>;
		vinc0_mipi_sel = <0xff>;
		vinc0_isp_sel = <0>;
		vinc0_isp_tx_ch = <0>;
		vinc0_tdm_rx_sel = <0>;
		vinc0_rear_sensor_sel = <0>;
		vinc0_front_sensor_sel = <0>;
		vinc0_sensor_list = <0>;
		device_id = <0>;
		work_mode = <0x0>;
		status = "okay";
	};

	vinc01:vinc@582fffc {
		vinc1_csi_sel = <1>;
		vinc1_mipi_sel = <2>;
		vinc1_isp_sel = <1>;
		vinc1_isp_tx_ch = <0>;
		vinc1_tdm_rx_sel = <1>;
		vinc1_rear_sensor_sel = <1>;
		vinc1_front_sensor_sel = <1>;
		vinc1_sensor_list = <0>;
		device_id = <1>;
		status = "disabled";
	};

	vinc02:vinc@582fff8 {
		vinc2_csi_sel = <2>;
		vinc2_mipi_sel = <0xff>;
		vinc2_isp_sel = <2>;
		vinc2_isp_tx_ch = <2>;
		vinc2_tdm_rx_sel = <2>;
		vinc2_rear_sensor_sel = <0>;
		vinc2_front_sensor_sel = <0>;
		vinc2_sensor_list = <0>;
		device_id = <2>;
		status = "disabled";
	};

	vinc03:vinc@582fff4 {
		vinc3_csi_sel = <0>;
		vinc3_mipi_sel = <0xff>;
		vinc3_isp_sel = <0>;
		vinc3_isp_tx_ch = <0>;
		vinc3_tdm_rx_sel = <0>;
		vinc3_rear_sensor_sel = <1>;
		vinc3_front_sensor_sel = <1>;
		vinc3_sensor_list = <0>;
		device_id = <3>;
		status = "disabled";
	};

	vinc10:vinc@5831000 {
		vinc4_csi_sel = <3>;
		vinc4_mipi_sel = <0xff>;
		vinc4_isp_sel = <0>;
		vinc4_isp_tx_ch = <1>;
		vinc4_tdm_rx_sel = <0>;
		vinc4_rear_sensor_sel = <0>;
		vinc4_front_sensor_sel = <0>;
		vinc4_sensor_list = <0>;
		device_id = <4>;
		work_mode = <0x0>;
		status = "okay";
	};

	vinc11:vinc@5830ffc {
		vinc5_csi_sel = <2>;
		vinc5_mipi_sel = <0xff>;
		vinc5_isp_sel = <1>;
		vinc5_isp_tx_ch = <1>;
		vinc5_tdm_rx_sel = <1>;
		vinc5_rear_sensor_sel = <0>;
		vinc5_front_sensor_sel = <0>;
		vinc5_sensor_list = <0>;
		device_id = <5>;
		status = "disabled";
	};

	vinc12:vinc@5830ff8 {
		vinc6_csi_sel = <2>;
		vinc6_mipi_sel = <0xff>;
		vinc6_isp_sel = <0>;
		vinc6_isp_tx_ch = <0>;
		vinc6_tdm_rx_sel = <0>;
		vinc6_rear_sensor_sel = <0>;
		vinc6_front_sensor_sel = <0>;
		vinc6_sensor_list = <0>;
		device_id = <6>;
		status = "disabled";
	};

	vinc13:vinc@5830ff4 {
		vinc7_csi_sel = <2>;
		vinc7_mipi_sel = <0xff>;
		vinc7_isp_sel = <0>;
		vinc7_isp_tx_ch = <0>;
		vinc7_tdm_rx_sel = <0>;
		vinc7_rear_sensor_sel = <0>;
		vinc7_front_sensor_sel = <0>;
		vinc7_sensor_list = <0>;
		device_id = <7>;
		status = "disabled";
	};

	vinc20:vinc@5832000 {
		vinc8_csi_sel = <3>;
		vinc8_mipi_sel = <0xff>;
		vinc8_isp_sel = <0>;
		vinc8_isp_tx_ch = <2>;
		vinc8_tdm_rx_sel = <0>;
		vinc8_rear_sensor_sel = <0>;
		vinc8_front_sensor_sel = <0>;
		vinc8_sensor_list = <0>;
		device_id = <8>;
		work_mode = <0x0>;
		status = "okay";
	};

	vinc21:vinc@5831ffc {
		vinc9_csi_sel = <2>;
		vinc9_mipi_sel = <0xff>;
		vinc9_isp_sel = <0>;
		vinc9_isp_tx_ch = <0>;
		vinc9_tdm_rx_sel = <0>;
		vinc9_rear_sensor_sel = <0>;
		vinc9_front_sensor_sel = <0>;
		vinc9_sensor_list = <0>;
		device_id = <9>;
		status = "disabled";
	};

	vinc22:vinc@5831ff8 {
		vinc10_csi_sel = <2>;
		vinc10_mipi_sel = <0xff>;
		vinc10_isp_sel = <0>;
		vinc10_isp_tx_ch = <0>;
		vinc10_tdm_rx_sel = <0>;
		vinc10_rear_sensor_sel = <0>;
		vinc10_front_sensor_sel = <0>;
		vinc10_sensor_list = <0>;
		device_id = <10>;
		status = "disabled";
	};

	vinc23:vinc@5831ff4 {
		vinc11_csi_sel = <2>;
		vinc11_mipi_sel = <0xff>;
		vinc11_isp_sel = <0>;
		vinc11_isp_tx_ch = <0>;
		vinc11_tdm_rx_sel = <0>;
		vinc11_rear_sensor_sel = <0>;
		vinc11_front_sensor_sel = <0>;
		vinc11_sensor_list = <0>;
		device_id = <11>;
		status = "disabled";
	};

	vinc30:vinc@5833000 {
		vinc12_csi_sel = <3>;
		vinc12_mipi_sel = <0xff>;
		vinc12_isp_sel = <0>;
		vinc12_isp_tx_ch = <3>;
		vinc12_tdm_rx_sel = <0>;
		vinc12_rear_sensor_sel = <0>;
		vinc12_front_sensor_sel = <0>;
		vinc12_sensor_list = <0>;
		device_id = <12>;
		work_mode = <0x0>;
		status = "okay";
	};

	vinc31:vinc@5832ffc {
		vinc13_csi_sel = <2>;
		vinc13_mipi_sel = <0xff>;
		vinc13_isp_sel = <0>;
		vinc13_isp_tx_ch = <0>;
		vinc13_tdm_rx_sel = <0>;
		vinc13_rear_sensor_sel = <0>;
		vinc13_front_sensor_sel = <0>;
		vinc13_sensor_list = <0>;
		device_id = <13>;
		status = "disabled";
	};

	vinc32:vinc@5832ff8 {
		vinc14_csi_sel = <2>;
		vinc14_mipi_sel = <0xff>;
		vinc14_isp_sel = <0>;
		vinc14_isp_tx_ch = <0>;
		vinc14_tdm_rx_sel = <0>;
		vinc14_rear_sensor_sel = <0>;
		vinc14_front_sensor_sel = <0>;
		vinc14_sensor_list = <0>;
		device_id = <14>;
		status = "disabled";
	};

	vinc33:vinc@5832ff4 {
		vinc15_csi_sel = <2>;
		vinc15_mipi_sel = <0xff>;
		vinc15_isp_sel = <0>;
		vinc15_isp_tx_ch = <0>;
		vinc15_tdm_rx_sel = <0>;
		vinc15_rear_sensor_sel = <0>;
		vinc15_front_sensor_sel = <0>;
		vinc15_sensor_list = <0>;
		device_id = <15>;
		status = "disabled";
	};
};
&ve {
	ve-supply = <&reg_dcdc2>;
	status = "okay";
};

&gmac0_phy0 {
	compatible = "ethernet-phy-id001c.c916";
	reset-gpios = <&pio PA 4 GPIO_ACTIVE_LOW>;
	/* For RTL8211F: PHY datasheet rst time */
	reset-assert-us = <10000>;
	reset-deassert-us = <30000>;
};

&gmac0 {
	phy-mode = "rgmii";
	// pinctrl-names = "default", "sleep";
	pinctrl-names = "default";
	pinctrl-0 = <&gmac0_pins_default>;
	// pinctrl-1 = <&gmac0_pins_sleep>;
	aw,soc-phy25m;
	tx-delay = <15>;
	rx-delay = <3>;
	dwmac3v3-supply = <&reg_dcdc4>;
	phy3v3-supply = <&reg_dcdc4>;
	status = "okay";
};

&gmac1_phy0 {
	compatible = "ethernet-phy-id001c.c916";
	reset-gpios = <&pio PA 3 GPIO_ACTIVE_LOW>;
	/* For RTL8211F: PHY datasheet rst time */
	reset-assert-us = <10000>;
	reset-deassert-us = <30000>;
};

&gmac1 {
	phy-mode = "rgmii";
	// pinctrl-names = "default", "sleep";
	pinctrl-names = "default";
	pinctrl-0 = <&gmac1_pins_default>;
	// pinctrl-1 = <&gmac1_pins_sleep>;
	aw,soc-phy25m;
	tx-delay = <15>;
	rx-delay = <3>;
	dwmac3v3-supply = <&reg_dcdc4>;
	phy3v3-supply = <&reg_dcdc4>;
	status = "okay";
};

&rtp {
	allwinner,tp-sensitive-adjust = <0x2>;
	allwinner,filter-type = <0x3>;
	status = "okay";
};

&dram {
	dram_para00 = <0x00000000>;
	dram_para01 = <0x00000000>;
	dram_para02 = <0x00000000>;
	dram_para03 = <0x00000000>;
	dram_para04 = <0x00000000>;
	dram_para05 = <0x00000000>;
	dram_para06 = <0x00000000>;
	dram_para07 = <0x00000000>;
	dram_para08 = <0x00000000>;
	dram_para09 = <0x00000000>;
	dram_para10 = <0x00000000>;
	dram_para11 = <0x00000000>;
	dram_para12 = <0x00000000>;
	dram_para13 = <0x00000000>;
	dram_para14 = <0x00000000>;
	dram_para15 = <0x00000000>;
	dram_para16 = <0x00000000>;
	dram_para17 = <0x00000000>;
	dram_para18 = <0x00000000>;
	dram_para19 = <0x00000000>;
	dram_para20 = <0x00000000>;
	dram_para21 = <0x00000000>;
	dram_para22 = <0x00000000>;
	dram_para23 = <0x00000000>;
	dram_para24 = <0x00000000>;
	dram_para25 = <0x00000000>;
	dram_para26 = <0x00000000>;
	dram_para27 = <0x00000000>;
	dram_para28 = <0x00000000>;
	dram_para29 = <0x00000000>;
	dram_para30 = <0x00000000>;
	dram_para31 = <0x00000000>;
	dram_para32 = <0x00000000>;
	dram_para33 = <0x00000000>;
	dram_para34 = <0x00000000>;
	dram_para35 = <0x00000000>;
	dram_para36 = <0x00000000>;
	dram_para37 = <0x00000000>;
	dram_para38 = <0x00000000>;
	dram_para39 = <0x00000000>;
	dram_para40 = <0x00000000>;
	dram_para41 = <0x00000000>;
	dram_para42 = <0x00000000>;
	dram_para43 = <0x00000000>;
	dram_para44 = <0x00000000>;
	dram_para45 = <0x00000000>;
	dram_para46 = <0x00000000>;
	dram_para47 = <0x00000000>;
	dram_para48 = <0x00000000>;
	dram_para49 = <0x00000000>;
	dram_para50 = <0x00000000>;
	dram_para51 = <0x00000000>;
	dram_para52 = <0x00000000>;
	dram_para53 = <0x00000000>;
	dram_para54 = <0x00000000>;
	dram_para55 = <0x00000000>;
	dram_para56 = <0x00000000>;
	dram_para57 = <0x00000000>;
	dram_para58 = <0x00000000>;
	dram_para59 = <0x00000000>;
	dram_para60 = <0x00000000>;
	dram_para61 = <0x00000000>;
	dram_para62 = <0x00000000>;
	dram_para63 = <0x00000000>;
	dram_para64 = <0x00000000>;
	dram_para65 = <0x00000000>;
	dram_para66 = <0x00000000>;
	dram_para67 = <0x00000000>;
	dram_para68 = <0x00000000>;
	dram_para69 = <0x00000000>;
	dram_para70 = <0x00000000>;
	dram_para71 = <0x00000000>;
	dram_para72 = <0x00000000>;
	dram_para73 = <0x00000000>;
	dram_para74 = <0x00000000>;
	dram_para75 = <0x00000000>;
	dram_para76 = <0x00000000>;
	dram_para77 = <0x00000000>;
	dram_para78 = <0x00000000>;
	dram_para79 = <0x00000000>;
	dram_para80 = <0x00000000>;
	dram_para81 = <0x00000000>;
	dram_para82 = <0x00000000>;
	dram_para83 = <0x00000000>;
	dram_para84 = <0x00000000>;
	dram_para85 = <0x00000000>;
	dram_para86 = <0x00000000>;
	dram_para87 = <0x00000000>;
	dram_para88 = <0x00000000>;
	dram_para89 = <0x00000000>;
	dram_para90 = <0x00000000>;
	dram_para91 = <0x00000000>;
	dram_para92 = <0x00000000>;
	dram_para93 = <0x00000000>;
	dram_para94 = <0x00000000>;
	dram_para95 = <0x00000000>;
};
